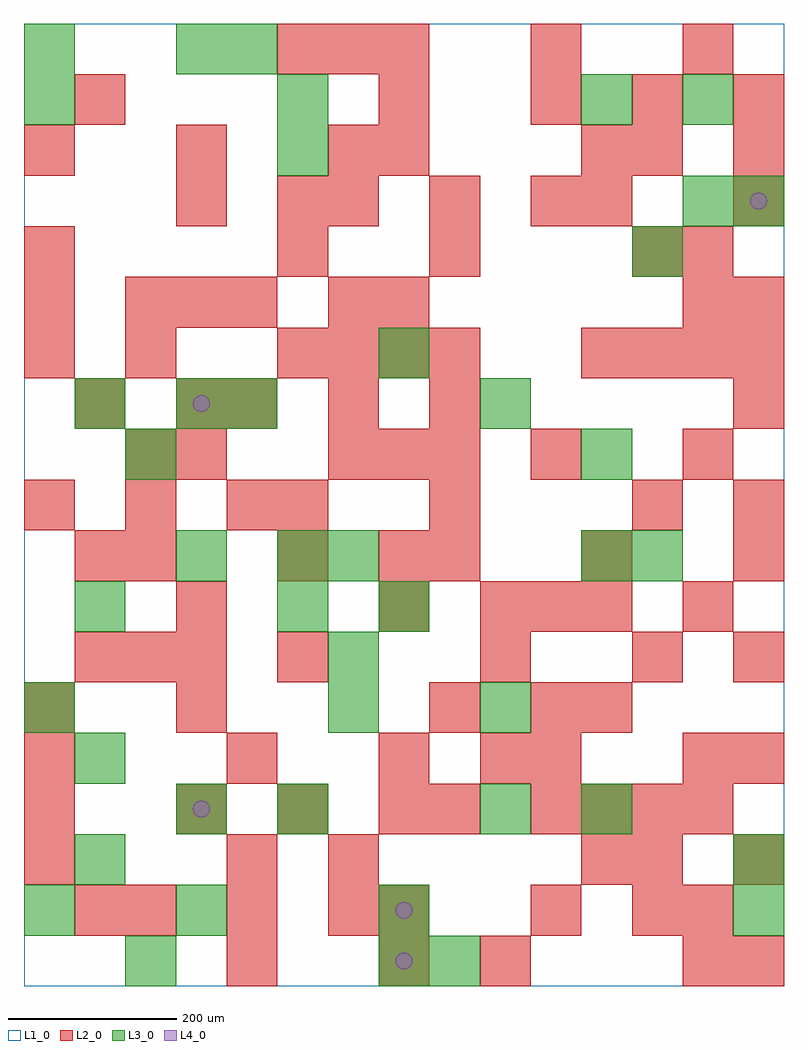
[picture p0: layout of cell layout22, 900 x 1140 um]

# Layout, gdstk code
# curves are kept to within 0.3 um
import gdstk
lib = gdstk.Library(unit=1e-6, precision=1e-09)
def R(c, l, rs):  # rectangles x0, y0, x1, y1
    for r in rs: c.add(gdstk.rectangle(r[:2], r[2:], *l))
def A(c, l, x, y, w, h, nx, ny, dx, dy):  # array of equal rectangles
    R(c, l, [(x+i*dx, y+j*dy, x+i*dx+w, y+j*dy+h) for i in range(nx) for j in range(ny)])
def P(c, l, *ps):  # polygons
    for p in ps: c.add(gdstk.Polygon(p, *l))
L1_0 = (1, 0)
L2_0 = (2, 0)
L3_0 = (3, 0)
L4_0 = (4, 0)

layout22 = lib.new_cell('layout22')
R(layout22, L1_0, [(0,0,900,1140)])
A(layout22, L2_0, 240, 0, 60, 60, 1, 3, 0, 120)
A(layout22, L2_0, 840, 0, 60, 60, 1, 4, 0, 120)
A(layout22, L2_0, 120, 60, 60, 60, 3, 1, 120, 0)
A(layout22, L2_0, 420, 60, 60, 60, 1, 3, 0, 180)
A(layout22, L2_0, 780, 60, 60, 60, 1, 5, 0, 180)
A(layout22, L2_0, 0, 120, 60, 60, 1, 4, 0, 60)
A(layout22, L2_0, 180, 180, 60, 60, 3, 1, 120, 0)
A(layout22, L2_0, 600, 180, 60, 60, 4, 1, 60, 0)
A(layout22, L2_0, 60, 360, 60, 60, 3, 1, 60, 0)
A(layout22, L2_0, 540, 420, 60, 60, 3, 1, 60, 0)
A(layout22, L2_0, 120, 480, 60, 60, 1, 3, 0, 120)
A(layout22, L2_0, 480, 480, 60, 60, 3, 1, 180, 0)
A(layout22, L2_0, 0, 540, 60, 60, 3, 1, 120, 0)
A(layout22, L2_0, 840, 540, 60, 60, 1, 4, 0, 120)
A(layout22, L2_0, 360, 600, 60, 60, 3, 1, 60, 0)
A(layout22, L2_0, 240, 660, 60, 60, 3, 1, 120, 0)
A(layout22, L2_0, 0, 720, 60, 60, 1, 3, 0, 60)
A(layout22, L2_0, 300, 720, 60, 60, 4, 1, 60, 0)
A(layout22, L2_0, 660, 720, 60, 60, 4, 1, 60, 0)
A(layout22, L2_0, 120, 780, 60, 60, 3, 1, 60, 0)
A(layout22, L2_0, 360, 900, 60, 60, 3, 1, 120, 0)
A(layout22, L2_0, 0, 960, 60, 60, 3, 1, 180, 0)
A(layout22, L2_0, 600, 1020, 60, 60, 3, 1, 120, 0)
A(layout22, L2_0, 300, 1080, 60, 60, 3, 1, 60, 0)
R(layout22, L2_0, [(420,0,480,60), (540,0,600,60), (780,0,840,60), (60,60,120,120), (600,60,660,120), (720,60,780,120), (360,120,420,180), (660,120,720,180), (720,120,780,180), (480,180,540,240), (540,240,600,300), (600,240,660,300), (180,300,240,360), (480,300,540,360), (600,300,660,360), (660,300,720,360), (300,360,360,420), (540,360,600,420), (720,360,780,420), (180,420,240,480), (60,480,120,540), (300,480,360,540), (420,480,480,540), (300,540,360,600), (480,540,540,600), (720,540,780,600), (180,600,240,660), (600,600,660,660), (60,660,120,720), (180,660,240,720), (360,780,420,840), (420,780,480,840), (300,840,360,900), (480,840,540,900), (720,840,780,900), (780,840,840,900), (180,900,240,960), (300,900,360,960), (660,900,720,960), (420,960,480,1020), (660,960,720,1020), (720,960,780,1020), (840,960,900,1020), (60,1020,120,1080), (420,1020,480,1080), (600,1080,660,1140), (780,1080,840,1140)])
R(layout22, L3_0, [(120,0,180,60), (420,0,480,60), (480,0,540,60), (0,60,60,120), (180,60,240,120), (420,60,480,120), (840,60,900,120), (60,120,120,180), (840,120,900,180), (180,180,240,240), (300,180,360,240), (540,180,600,240), (660,180,720,240), (60,240,120,300), (0,300,60,360), (360,300,420,360), (540,300,600,360), (360,360,420,420), (60,420,120,480), (300,420,360,480), (420,420,480,480), (180,480,240,540), (300,480,360,540), (360,480,420,540), (660,480,720,540), (720,480,780,540), (120,600,180,660), (660,600,720,660), (60,660,120,720), (180,660,240,720), (240,660,300,720), (540,660,600,720), (420,720,480,780), (720,840,780,900), (780,900,840,960), (840,900,900,960), (300,960,360,1020), (0,1020,60,1080), (300,1020,360,1080), (660,1020,720,1080), (780,1020,840,1080), (0,1080,60,1140), (180,1080,240,1140), (240,1080,300,1140)])
P(layout22, L4_0, [(220,210),(219.239,213.827),(217.071,217.071),(213.827,219.239),(210,220),(206.173,219.239),(202.929,217.071),(200.761,213.827),(200,210),(200.761,206.173),(202.929,202.929),(206.173,200.761),(210,200),(213.827,200.761),(217.071,202.929),(219.239,206.173)],
  [(220,690),(219.239,693.827),(217.071,697.071),(213.827,699.239),(210,700),(206.173,699.239),(202.929,697.071),(200.761,693.827),(200,690),(200.761,686.173),(202.929,682.929),(206.173,680.761),(210,680),(213.827,680.761),(217.071,682.929),(219.239,686.173)],
  [(460,30),(459.239,33.827),(457.071,37.071),(453.827,39.239),(450,40),(446.173,39.239),(442.929,37.071),(440.761,33.827),(440,30),(440.761,26.173),(442.929,22.929),(446.173,20.761),(450,20),(453.827,20.761),(457.071,22.929),(459.239,26.173)],
  [(460,90),(459.239,93.827),(457.071,97.071),(453.827,99.239),(450,100),(446.173,99.239),(442.929,97.071),(440.761,93.827),(440,90),(440.761,86.173),(442.929,82.929),(446.173,80.761),(450,80),(453.827,80.761),(457.071,82.929),(459.239,86.173)],
  [(880,930),(879.239,933.827),(877.071,937.071),(873.827,939.239),(870,940),(866.173,939.239),(862.929,937.071),(860.761,933.827),(860,930),(860.761,926.173),(862.929,922.929),(866.173,920.761),(870,920),(873.827,920.761),(877.071,922.929),(879.239,926.173)])

lib.write_gds('layout22.gds')
